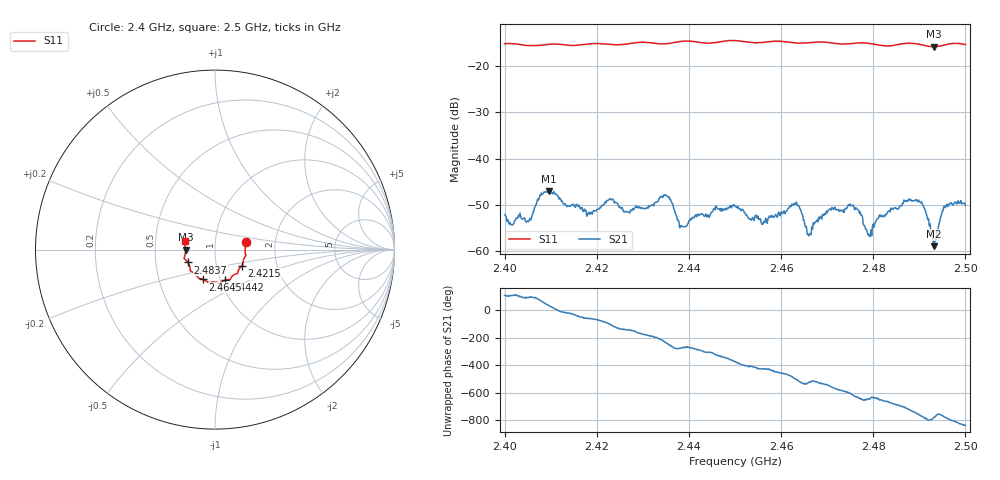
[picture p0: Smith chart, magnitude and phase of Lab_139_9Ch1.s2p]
# Hz S RI R 50
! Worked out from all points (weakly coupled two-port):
!   601 points, 2.4 GHz to 2.5 GHz, reference 50 ohm
!   highest |S21| = -47.06 dB at 2.4097 GHz (marker M1); lowest = -59.0 dB at 2.4932 GHz (marker M2)
!   lowest |S11| = -15.7 dB at 2.4932 GHz (marker M3), VSWR 1.39, Z = 35.9 - j0.0631 ohm
!   |S11| at or under -10 dB: start of sweep to end of sweep
!   S12 and S22 are empty: the file has one direction only
!   S11 on the Smith chart (normalised r, x): 2.4 GHz: 1.41, +0.12; 2.4215 GHz: 1.33, -0.25; 2.4442 GHz: 1.05, -0.37; 2.4645 GHz: 0.83, -0.29; 2.4837 GHz: 0.73, -0.11; 2.5 GHz: 0.71, +0.07
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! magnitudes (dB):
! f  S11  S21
! 2.4 GHz  -15.1  -52.1
! 2.4052 GHz  -15.5  -53.7
! 2.4097 GHz  -15.2  -47.1
! 2.4167 GHz  -15.3  -50.6
! 2.4215 GHz  -15.1  -50.1
! 2.4333 GHz  -15.1  -49.3
! 2.4355 GHz  -15.0  -48.3
! 2.4385 GHz  -14.6  -54.7
! 2.4442 GHz  -15.0  -52.2
! 2.45 GHz  -14.4  -50.4
! 2.456 GHz  -14.8  -54.1
! 2.4628 GHz  -14.9  -49.7
! 2.4645 GHz  -15.0  -52.0
! 2.4667 GHz  -14.8  -54.8
! 2.4752 GHz  -15.0  -50.2
! 2.4792 GHz  -15.0  -56.8
! 2.4833 GHz  -15.6  -51.4
! 2.4837 GHz  -15.5  -51.6
! 2.4902 GHz  -15.2  -49.5
! 2.4932 GHz  -15.7  -59.0
! 2.4955 GHz  -15.4  -50.4
! 2.5 GHz  -15.3  -50.1
